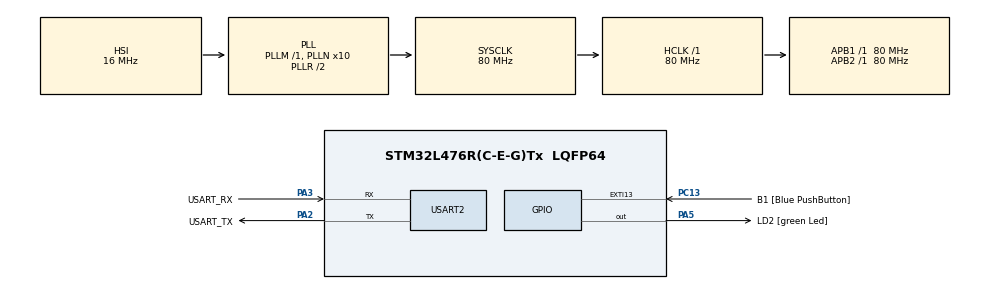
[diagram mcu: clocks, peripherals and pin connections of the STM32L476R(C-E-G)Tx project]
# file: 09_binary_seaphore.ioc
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FREERTOS.INCLUDE_vTaskDelayUntil=1
FREERTOS.Tasks01=defaultTask,0,128,StartDefaultTask,Default,NULL,Dynamic,NULL,NULL
Mcu.Family=STM32L4
Mcu.Name=STM32L476R(C-E-G)Tx
Mcu.Package=LQFP64
NVIC.PriorityGroup=NVIC_PRIORITYGROUP_4
PA13\ (JTMS-SWDIO).GPIO_Label=TMS
PA13\ (JTMS-SWDIO).Mode=Serial_Wire
PA13\ (JTMS-SWDIO).Signal=SYS_JTMS-SWDIO
PA14\ (JTCK-SWCLK).GPIO_Label=TCK
PA14\ (JTCK-SWCLK).Mode=Serial_Wire
PA14\ (JTCK-SWCLK).Signal=SYS_JTCK-SWCLK
PA2.GPIO_Label=USART_TX
PA2.GPIO_Mode=GPIO_MODE_AF_PP
PA2.GPIO_PuPd=GPIO_NOPULL
PA2.GPIO_Speed=GPIO_SPEED_FREQ_VERY_HIGH
PA2.Mode=Asynchronous
PA2.Signal=USART2_TX
PA3.GPIO_Label=USART_RX
PA3.GPIO_Mode=GPIO_MODE_AF_PP
PA3.GPIO_PuPd=GPIO_NOPULL
PA3.GPIO_Speed=GPIO_SPEED_FREQ_VERY_HIGH
PA3.Mode=Asynchronous
PA3.Signal=USART2_RX
PA5.GPIO_Label=LD2 [green Led]
PA5.GPIO_ModeDefaultOutputPP=GPIO_MODE_OUTPUT_PP
PA5.GPIO_PuPd=GPIO_NOPULL
PA5.GPIO_Speed=GPIO_SPEED_FREQ_LOW
PA5.Signal=GPIO_Output
PB3\ (JTDO-TRACESWO).GPIO_Label=SWO
PB3\ (JTDO-TRACESWO).Signal=SYS_JTDO-SWO
PC13.GPIO_Label=B1 [Blue PushButton]
PC13.GPIO_ModeDefaultEXTI=GPIO_MODE_IT_FALLING
PC13.GPIO_PuPd=GPIO_NOPULL
PC13.Signal=GPXTI13
PC14-OSC32_IN\ (PC14).Mode=LSE-External-Oscillator
PC14-OSC32_IN\ (PC14).Signal=RCC_OSC32_IN
PC15-OSC32_OUT\ (PC15).Mode=LSE-External-Oscillator
PC15-OSC32_OUT\ (PC15).Signal=RCC_OSC32_OUT
PH0-OSC_IN\ (PH0).Signal=RCC_OSC_IN
PH1-OSC_OUT\ (PH1).Signal=RCC_OSC_OUT
ProjectManager.HeapSize=0x200
ProjectManager.StackSize=0x400
ProjectManager.TargetToolchain=STM32CubeIDE
RCC.ADCFreq_Value=64000000
RCC.AHBFreq_Value=80000000
RCC.APB1Freq_Value=80000000
RCC.APB1TimFreq_Value=80000000
RCC.APB2Freq_Value=80000000
RCC.APB2TimFreq_Value=80000000
RCC.CortexFreq_Value=80000000
RCC.HCLKFreq_Value=80000000
RCC.HSE_VALUE=8000000
RCC.HSI_VALUE=16000000
RCC.MSI_VALUE=4000000
RCC.PLLN=10
RCC.PLLSourceVirtual=RCC_PLLSOURCE_HSI
RCC.PREFETCH_ENABLE=1
RCC.SYSCLKFreq_VALUE=80000000
RCC.SYSCLKSource=RCC_SYSCLKSOURCE_PLLCLK
RCC.USBFreq_Value=64000000
RCC.VCOOutputFreq_Value=160000000
USART2.VirtualMode-Asynchronous=VM_ASYNC
VP_FREERTOS_VS_CMSIS_V1.Mode=CMSIS_V1
board=NUCLEO-L476RG

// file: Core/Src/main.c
/* USER CODE BEGIN Header */
/**
  ******************************************************************************
  * @file           : main.c
  * @brief          : Main program body
  ******************************************************************************
  * @attention
  *
  * Copyright (c) 2025 STMicroelectronics.
  * All rights reserved.
  *
  * This software is licensed under terms that can be found in the LICENSE file
  * in the root directory of this software component.
  * If no LICENSE file comes with this software, it is provided AS-IS.
  *
  ******************************************************************************
  */
/* USER CODE END Header */
#include "main.h"
#include "cmsis_os.h"

/* USER CODE BEGIN Includes */
#include<stdio.h>
#include<stdarg.h>
#include<stdlib.h>
#include <time.h>
/* USER CODE END Includes */

UART_HandleTypeDef huart2;

osThreadId defaultTaskHandle;

void SystemClock_Config(void);
static void MX_GPIO_Init(void);
static void MX_USART2_UART_Init(void);
void StartDefaultTask(void const * argument);

/* USER CODE BEGIN PFP */
static void Manager_Task(void *paramps);
static void Employee_Task(void *paramps);
void debug_printf(const char *fmt, ...)
{
	char buffer[256];
	va_list args;
	va_start(args, fmt);
	vsnprintf(buffer, sizeof(buffer), fmt, args);
	va_end(args);
	uint16_t i = 0;
	while(buffer[i] != '\0')
	{
		ITM_SendChar(buffer[i]);
		i++;
	}
}
/* USER CODE END PFP */

/* USER CODE BEGIN 0 */
xSemaphoreHandle xWork;

xQueueHandle  xWorkQueue;
/* USER CODE END 0 */

int main(void)
{

  /* MCU Configuration--------------------------------------------------------*/

  /* Reset of all peripherals, Initializes the Flash interface and the Systick. */
  HAL_Init();

  /* Configure the system clock */
  SystemClock_Config();

  /* Initialize all configured peripherals */
  MX_GPIO_Init();
  MX_USART2_UART_Init();

  /* Create the thread(s) */
  /* definition and creation of defaultTask */
  osThreadDef(defaultTask, StartDefaultTask, osPriorityNormal, 0, 128);
  defaultTaskHandle = osThreadCreate(osThread(defaultTask), NULL);

  /* USER CODE BEGIN RTOS_THREADS */
  /* add threads, ... */
  vSemaphoreCreateBinary(xWork);

  xWorkQueue = xQueueCreate(1,sizeof(unsigned int));
  if((xWork != NULL)&&(xWorkQueue !=NULL))
  {
	  xTaskCreate(Manager_Task,"manager_task",200,NULL,3,NULL);
	  xTaskCreate(Employee_Task,"Employee_task",200,NULL,2,NULL);

	  vTaskStartScheduler();
  }
  else
  {
	  debug_printf("the Queue/Semaphore created to failed");
  }

  /* USER CODE END RTOS_THREADS */

  /* Start scheduler */
  osKernelStart();

  /* We should never get here as control is now taken by the scheduler */

  /* Infinite loop */
  while (1)
  {

  }
}

void SystemClock_Config(void)
{
  RCC_OscInitTypeDef RCC_OscInitStruct = {0};
  RCC_ClkInitTypeDef RCC_ClkInitStruct = {0};

  /** Configure the main internal regulator output voltage
  */
  if (HAL_PWREx_ControlVoltageScaling(PWR_REGULATOR_VOLTAGE_SCALE1) != HAL_OK)
  {
    Error_Handler();
  }

  /** Initializes the RCC Oscillators according to the specified parameters
  * in the RCC_OscInitTypeDef structure.
  */
  RCC_OscInitStruct.OscillatorType = RCC_OSCILLATORTYPE_HSI;
  RCC_OscInitStruct.HSIState = RCC_HSI_ON;
  RCC_OscInitStruct.HSICalibrationValue = RCC_HSICALIBRATION_DEFAULT;
  RCC_OscInitStruct.PLL.PLLState = RCC_PLL_ON;
  RCC_OscInitStruct.PLL.PLLSource = RCC_PLLSOURCE_HSI;
  RCC_OscInitStruct.PLL.PLLM = 1;
  RCC_OscInitStruct.PLL.PLLN = 10;
  RCC_OscInitStruct.PLL.PLLP = RCC_PLLP_DIV7;
  RCC_OscInitStruct.PLL.PLLQ = RCC_PLLQ_DIV2;
  RCC_OscInitStruct.PLL.PLLR = RCC_PLLR_DIV2;
  if (HAL_RCC_OscConfig(&RCC_OscInitStruct) != HAL_OK)
  {
    Error_Handler();
  }

  /** Initializes the CPU, AHB and APB buses clocks
  */
  RCC_ClkInitStruct.ClockType = RCC_CLOCKTYPE_HCLK|RCC_CLOCKTYPE_SYSCLK
                              |RCC_CLOCKTYPE_PCLK1|RCC_CLOCKTYPE_PCLK2;
  RCC_ClkInitStruct.SYSCLKSource = RCC_SYSCLKSOURCE_PLLCLK;
  RCC_ClkInitStruct.AHBCLKDivider = RCC_SYSCLK_DIV1;
  RCC_ClkInitStruct.APB1CLKDivider = RCC_HCLK_DIV1;
  RCC_ClkInitStruct.APB2CLKDivider = RCC_HCLK_DIV1;

  if (HAL_RCC_ClockConfig(&RCC_ClkInitStruct, FLASH_LATENCY_4) != HAL_OK)
  {
    Error_Handler();
  }
}

static void MX_USART2_UART_Init(void)
{

  huart2.Instance = USART2;
  huart2.Init.BaudRate = 115200;
  huart2.Init.WordLength = UART_WORDLENGTH_8B;
  huart2.Init.StopBits = UART_STOPBITS_1;
  huart2.Init.Parity = UART_PARITY_NONE;
  huart2.Init.Mode = UART_MODE_TX_RX;
  huart2.Init.HwFlowCtl = UART_HWCONTROL_NONE;
  huart2.Init.OverSampling = UART_OVERSAMPLING_16;
  huart2.Init.OneBitSampling = UART_ONE_BIT_SAMPLE_DISABLE;
  huart2.AdvancedInit.AdvFeatureInit = UART_ADVFEATURE_NO_INIT;
  if (HAL_UART_Init(&huart2) != HAL_OK)
  {
    Error_Handler();
  }

}

static void MX_GPIO_Init(void)
{
  GPIO_InitTypeDef GPIO_InitStruct = {0};

  /* GPIO Ports Clock Enable */
  __HAL_RCC_GPIOC_CLK_ENABLE();
  __HAL_RCC_GPIOH_CLK_ENABLE();
  __HAL_RCC_GPIOA_CLK_ENABLE();
  __HAL_RCC_GPIOB_CLK_ENABLE();

  /*Configure GPIO pin Output Level */
  HAL_GPIO_WritePin(LD2_GPIO_Port, LD2_Pin, GPIO_PIN_RESET);

  /*Configure GPIO pin : B1_Pin */
  GPIO_InitStruct.Pin = B1_Pin;
  GPIO_InitStruct.Mode = GPIO_MODE_IT_FALLING;
  GPIO_InitStruct.Pull = GPIO_NOPULL;
  HAL_GPIO_Init(B1_GPIO_Port, &GPIO_InitStruct);

  /*Configure GPIO pin : LD2_Pin */
  GPIO_InitStruct.Pin = LD2_Pin;
  GPIO_InitStruct.Mode = GPIO_MODE_OUTPUT_PP;
  GPIO_InitStruct.Pull = GPIO_NOPULL;
  GPIO_InitStruct.Speed = GPIO_SPEED_FREQ_LOW;
  HAL_GPIO_Init(LD2_GPIO_Port, &GPIO_InitStruct);

}

/* USER CODE BEGIN 4 */
void EmployeeDoWork(unsigned int ticket)
{
	debug_printf("Employee task : Working on Ticket Id: %d\r\n",ticket);
	vTaskDelay(ticket);
}
void Manager_Task(void *paramps)
{
	unsigned int xWorkTicketId;
	portBASE_TYPE xStatus;
	srand(time(NULL));
	xSemaphoreGive(xWork);
	while(1)
	{
		xWorkTicketId = (rand()&0x1f);
		xStatus = xQueueSend(xWorkQueue,&xWorkTicketId,portMAX_DELAY);

		if(xStatus != pdPASS)
		{
			debug_printf("could not send to the queue\r\n");
		}
		else
		{
			xSemaphoreGive(xWork);
			taskYIELD();
		}
	}
}
void Employee_Task(void *paramps)
{
	unsigned int xWorkTicketId;
	portBASE_TYPE xStatus;
	while(1)
	{
		xSemaphoreTake(xWork,0);

		xStatus=xQueueReceive(xWorkQueue,&xWorkTicketId , 0);

		if(xStatus == pdPASS)
		{
			EmployeeDoWork(xWorkTicketId);
		}
		else
		{
			debug_printf("Employee task : Queue is empty , nothing to do.\r\n");
		}
	}
}
/* USER CODE END 4 */

void StartDefaultTask(void const * argument)
{
  for(;;)
  {
    osDelay(1);
  }
}

void Error_Handler(void)
{
  __disable_irq();
  while (1)
  {
  }
}
